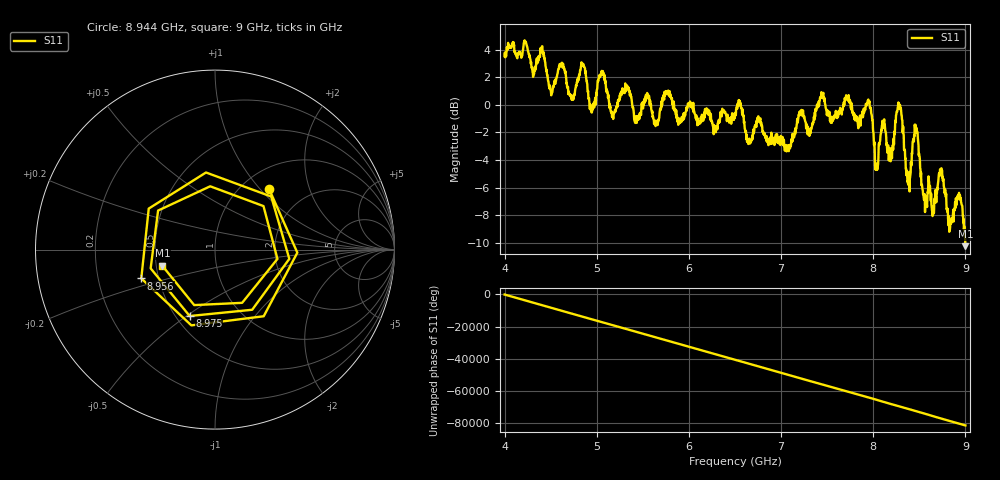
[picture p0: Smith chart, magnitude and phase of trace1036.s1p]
! Created with skrf 1.8.0 (http://scikit-rf.org).
# Hz S RI R 50.0
!freq ReS11 ImS11
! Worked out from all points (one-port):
!   1601 points, 4 GHz to 9 GHz, reference 50 ohm
!   lowest |S11| = -10.3 dB at 9 GHz (marker M1), VSWR 1.89, Z = 26.9 - j5.37 ohm
!   |S11| at or under -10 dB: 8.998778 GHz to end of sweep
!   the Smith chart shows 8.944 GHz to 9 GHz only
!   S11 on the Smith chart (normalised r, x): 8.944 GHz: 1.32, +1.12; 8.956 GHz: 0.40, -0.16; 8.975 GHz: 0.59, -0.51; 9 GHz: 0.54, -0.11
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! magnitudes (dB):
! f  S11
! 4 GHz  3.5
! 4.409 GHz  4.3
! 4.506 GHz  0.7
! 4.625 GHz  3.0
! 4.725 GHz  0.5
! 4.847 GHz  2.9
! 4.947 GHz  -0.5
! 5.05 GHz  2.3
! 5.162 GHz  -0.5
! 5.25 GHz  0.7
! 5.875 GHz  -0.9
! 6.5 GHz  -0.7
! 7.125 GHz  -2.6
! 7.441 GHz  0.6
! 7.75 GHz  0.2
! 7.956 GHz  0.2
! 8.041 GHz  -4.2
! 8.194 GHz  -3.4
! 8.288 GHz  0.0
! 8.375 GHz  -5.5
! 8.459 GHz  -1.4
! 8.559 GHz  -6.5
! 8.734 GHz  -4.6
! 8.838 GHz  -8.4
! 8.944 GHz  -6.9
! 8.956 GHz  -7.1
! 8.975 GHz  -8.0
! 9 GHz  -10.3
